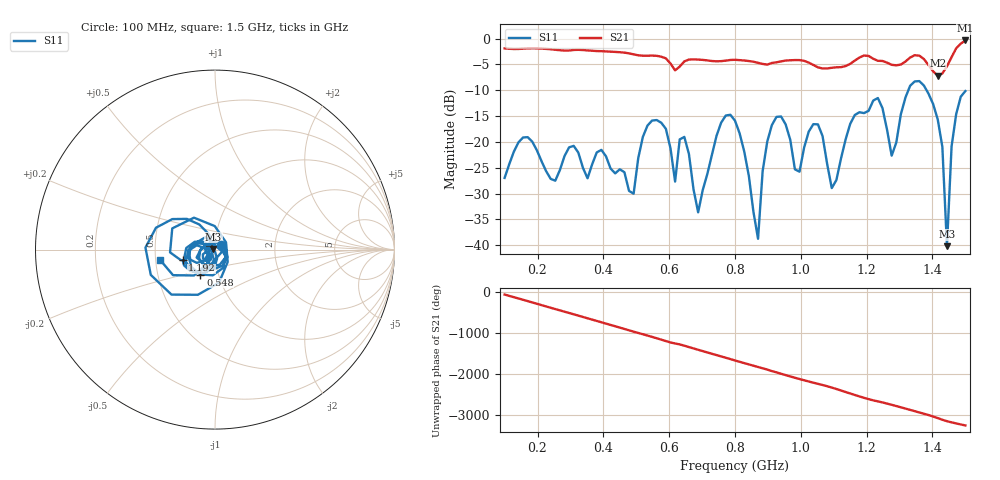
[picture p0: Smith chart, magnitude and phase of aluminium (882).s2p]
! NanoVNA-App
! Date: 2025-09-25 15:02:09
! Start: 100MHz Stop: 1,5GHz Points: 101
! S-Parameter data: F S11 S21 S12 S22
# Hz S RI R 50
!  Frequency  S11_Real  S11_Imag  S21_Real  S21_Imag  S12_Real  S12_Imag  S22_Real  S22_Imag
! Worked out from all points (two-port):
!   101 points, 100 MHz to 1.5 GHz, reference 50 ohm
!   highest |S21| = -0.38 dB at 1.5 GHz (marker M1); lowest = -7.2 dB at 1.416 GHz (marker M2)
!   |S21| within 3 dB of the highest: start of sweep to 564.4 MHz; 1.46 GHz to end of sweep (the widest 2 of 4)
!   lowest |S11| = -40.2 dB at 1.444 GHz (marker M3), VSWR 1.02, Z = 49.1 + j0.379 ohm
!   |S11| at or under -10 dB: start of sweep to 1.327 GHz; 1.382 GHz to end of sweep
!   S12 and S22 are empty: the file has one direction only
!   S11 on the Smith chart (normalised r, x): 100 MHz: 1.07, +0.06; 548 MHz: 0.82, -0.23; 1.192 GHz: 0.69, -0.08; 1.5 GHz: 0.53, -0.07
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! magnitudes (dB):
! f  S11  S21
! 100 MHz  -27.0  -1.9
! 156 MHz  -19.1  -2.0
! 338 MHz  -25.0  -2.2
! 492 MHz  -30.0  -3.1
! 548 MHz  -15.9  -3.3
! 576 MHz  -16.3  -3.5
! 618 MHz  -27.7  -6.2
! 646 MHz  -19.0  -4.4
! 688 MHz  -33.6  -4.1
! 800 MHz  -15.9  -4.1
! 870 MHz  -38.7  -4.7
! 912 MHz  -16.7  -4.7
! 996 MHz  -25.8  -4.2
! 1.038 GHz  -16.6  -5.1
! 1.094 GHz  -28.9  -5.7
! 1.192 GHz  -14.4  -3.3
! 1.276 GHz  -22.7  -5.1
! 1.346 GHz  -8.3  -3.2
! 1.416 GHz  -15.7  -7.2
! 1.444 GHz  -40.2  -5.4
! 1.458 GHz  -20.9  -3.6
! 1.5 GHz  -10.2  -0.4
